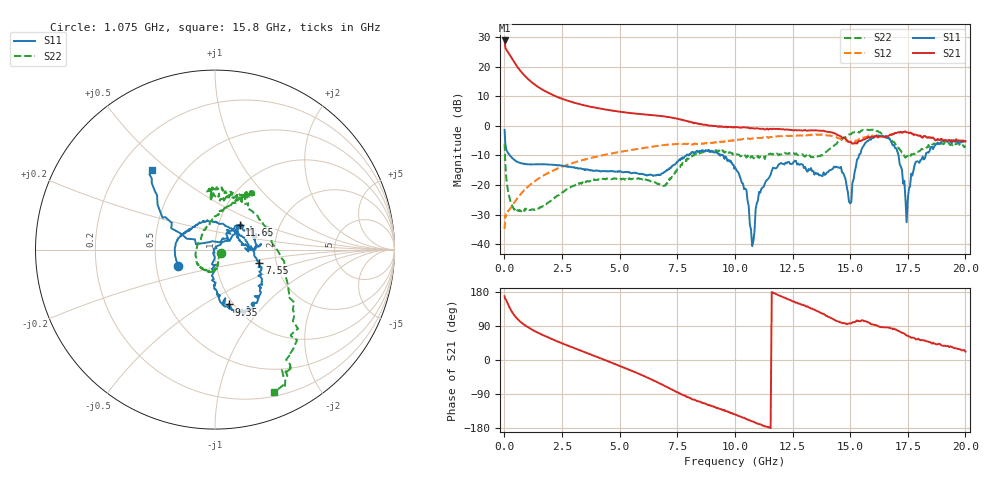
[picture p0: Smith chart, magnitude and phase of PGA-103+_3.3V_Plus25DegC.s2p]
!Mini-Circuits Laboratory
!S-Parameters, Port extension performed
!Model: PGA-103+
!Run / Lot / Date Code: N/A / BP170-001-01-101EV / 1210
!Fixture: TB-313
!Network Analyzer: PNA-X N5242A - 423 4 ports;  Serial number: 71013
!Date: 5/24/2012 at 5:09:38 PM
!S/N: Unit# 1
!Tested with: Vdd=3.3V at 25C
# Hz  S  dB  R  50
!Frequency  S11 dB  S11 Deg  S21 dB  S21 Deg  S12 dB  S12 Deg  S22 dB  S22 Deg
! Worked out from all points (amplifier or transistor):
!   660 points, 10 MHz to 20 GHz, reference 50 ohm
!   highest |S21| = 28.9 dB at 10 MHz (marker M1)
!   |S21| within 3 dB of that: start of sweep to 75.66 MHz
!   unconditionally stable (mu >= 1): 157.1 MHz to 15.03 GHz; 16.84 GHz to end of sweep
!   at 1.275 GHz: K = 1.10, MAG = 14.6 dB, |S12| = -18.9 dB
!   at 6.775 GHz: K = 1.04, MAG = 3.8 dB, |S12| = -6.6 dB
!   at 20 GHz: K = 1.27, MAG = -3.1 dB, |S12| = -5.3 dB
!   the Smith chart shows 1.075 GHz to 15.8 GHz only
!   S11 on the Smith chart (normalised r, x): 1.075 GHz: 0.65, -0.13; 7.55 GHz: 1.63, -0.27; 9.35 GHz: 0.95, -0.65; 11.65 GHz: 1.26, +0.36; 15.8 GHz: 0.34, +0.44
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1e7  -1.38 -18.1  28.86 168.5  -34.80 52.8  -5.98 -23.2
5e7  -6.46 -37.4  26.37 160.8  -30.75 24.0  -13.70 -58.1
8e7  -7.86 -40.9  25.80 158.0  -29.79 24.3  -17.31 -60.0
2.3e8  -9.87 -67.9  24.01 138.0  -28.12 31.7  -24.49 -51.5
4.1e8  -11.37 -97.8  21.71 119.6  -26.13 41.4  -28.17 -37.2
5.3e8  -12.02 -112.9  20.30 110.6  -24.77 46.0  -28.31 -26.9
6.8e8  -12.50 -128.4  18.73 101.7  -23.29 48.7  -28.67 -26.2
1.075e9  -12.98 -155.8  15.48 84.5  -20.20 50.7  -28.46 -31.5
1.95e9  -13.09 173.5  10.99 58.1  -15.71 43.4  -25.66 -65.9
3.35e9  -14.49 146.4  7.14 23.5  -11.66 21.8  -19.57 -88.9
6.675e9  -16.58 50.7  3.42 -59.9  -6.74 -49.1  -19.54 -178.6
7.55e9  -11.73 -17.1  2.36 -86.5  -6.13 -74.1  -14.20 85.7
9.35e9  -10.03 -75.8  -0.23 -128.6  -5.47 -116.9  -8.51 57.1
1.005e10  -14.68 -88.8  -0.37 -144.6  -4.62 -134.2  -9.46 66.1
1.075e10  -40.64 144.4  -0.82 -161.6  -4.32 -152.0  -10.22 78.4
1.165e10  -14.19 45.0  -0.96 178.4  -3.58 -173.3  -9.43 95.3
1.335e10  -15.29 10.0  -1.55 135.9  -3.03 142.6  -10.49 44.7
1.5e10  -26.20 108.0  -5.54 96.4  -5.39 107.7  -2.86 -54.4
1.58e10  -4.97 128.3  -3.61 98.6  -3.21 99.2  -1.35 -67.5
1.67e10  -4.38 89.9  -3.25 85.7  -3.20 85.5  -4.14 -70.9
1.745e10  -32.55 104.3  -2.21 64.8  -2.20 64.7  -10.35 -19.0
2e10  -5.12 161.0  -5.25 22.2  -5.25 22.2  -6.71 26.0
